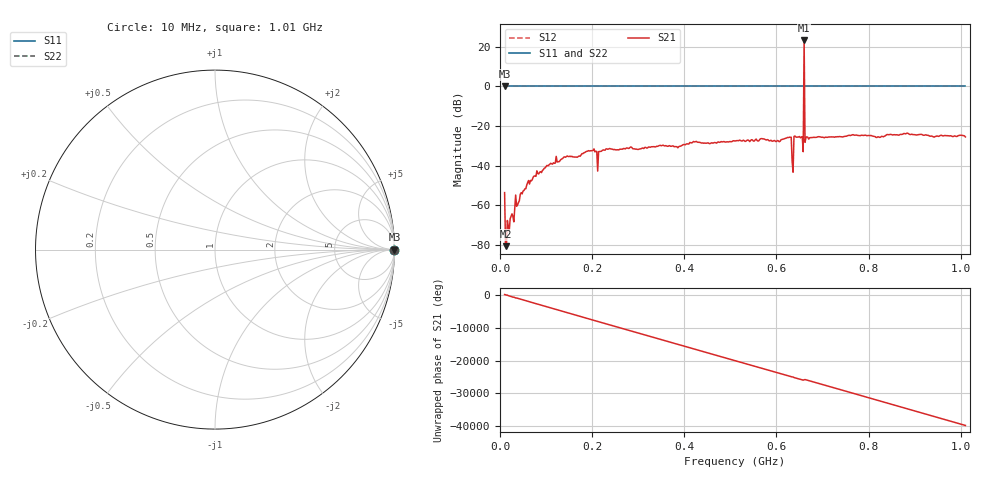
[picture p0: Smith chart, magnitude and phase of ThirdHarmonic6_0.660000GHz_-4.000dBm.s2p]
! 8/15/2025 9:55:22 PM
! C:\ANRITSUVNA\TEMP\TEMP.S2P
! CHANNEL.1
! TR.MEASUREMENT
! RAW.DATA
! RF.CORRECTION.OFF
! AVERAGING.OFF
! IF.BANDWIDTH: 5KHZ
! SWEEPTYPE:  FREQ.SWEEP(Linear)
! Reference Plane Port Info
! PORT:  PORT1  PORT2
! DISTANCE:  0  m  0  m
! TIME:  0  s  0  s
! PHASE.OFFSET:  0  deg.  0  deg.
! LOSS:  0  dB  0  dB
! REF.LOSS:  0  dB  0  dB
! REF.FREQ:  0  Hz  0  Hz
! Power Info
! POWER:  -20  dBm  -20  dBm
! EFF.POWER:  -20  dBm  -20  dBm
! SOURCE.ATTEN:  0  dB  0  dB
! TEST.ATTEN:  0  dB  0  dB
# GHZ S RI R 50.0
! FREQ.GHZ  S11RE  S11IM  S21RE  S21IM  S12RE  S12IM  S22RE  S22IM
!; PortSelection: Port_12
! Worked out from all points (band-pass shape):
!   501 points, 10 MHz to 1.01 GHz, reference 50 ohm
!   highest |S21| = 23.22 dB at 660 MHz (marker M1); lowest = -80.7 dB at 12 MHz (marker M2)
!   |S21| within 3 dB of the highest: 659.8933 MHz to 660.1166 MHz (223.3 kHz wide, 0.0338 % of centre)
!   lowest |S11| = 0.0 dB at 10 MHz (marker M3)
!   |S11| at or under -10 dB: nowhere
!   |S22| runs from 0.0 to 0.0 dB; largest |S21 - S12| = 14
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0.01  1 0  -0.00206 0.000142  1 0  1 0
0.012  1 0  -5.03e-05 7.68e-05  1 0  1 0
0.016  1 0  0.000405 6.03e-05  1 0  1 0
0.02  1 0  -0.000104 0.000191  1 0  1 0
0.036  1 0  -0.000886 -0.0003  1 0  1 0
0.076  1 0  0.00544 4.85e-05  1 0  1 0
0.142  1 0  -0.0152 -0.00566  1 0  1 0
0.178  1 0  -0.0196 -0.00421  1 0  1 0
0.344  1 0  0.0305 -0.0073  1 0  1 0
0.51  1 0  -0.0382 0.0171  1 0  1 0
0.628  1 0  -0.00509 0.0518  1 0  1 0
0.632  1 0  0.0226 -0.0467  1 0  1 0
0.638  1 0  0.0346 0.042  1 0  1 0
0.642  1 0  -0.02 -0.0489  1 0  1 0
0.654  1 0  -0.031 0.0422  1 0  1 0
0.656  1 0  0.0381 0.0378  1 0  1 0
0.66  1 0  0.279 14.48  1 0  1 0
0.664  1 0  0.0109 0.05  1 0  1 0
0.666  1 0  0.0532 -0.00162  1 0  1 0
0.678  1 0  -0.028 -0.0428  1 0  1 0
0.844  1 0  0.0479 0.0364  1 0  1 0
1.01  1 0  -0.0526 -0.00556  1 0  1 0
